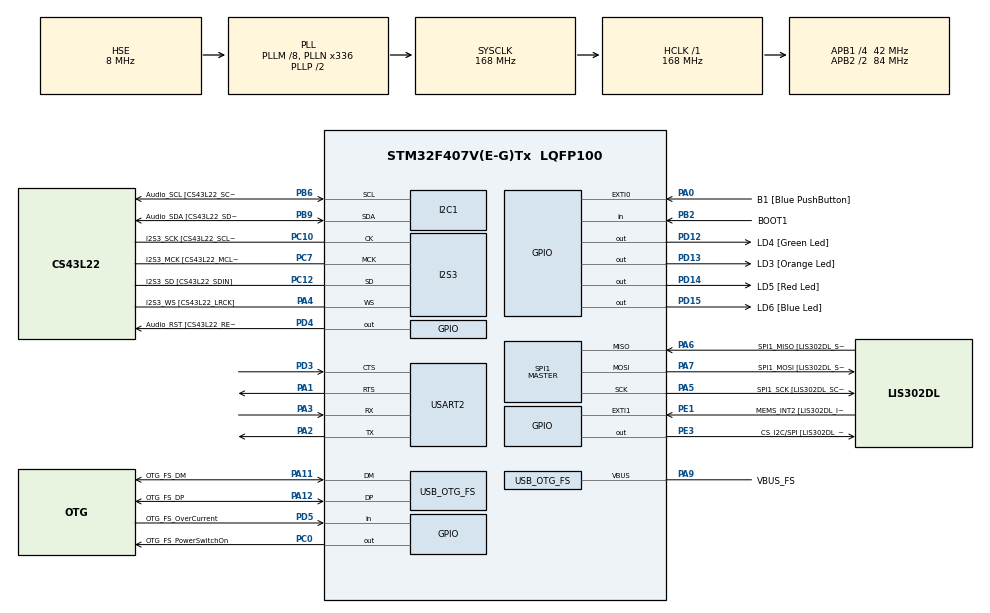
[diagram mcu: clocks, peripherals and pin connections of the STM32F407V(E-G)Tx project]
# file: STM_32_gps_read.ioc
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I2S3.AudioFreq-Half_Duplex_Master=I2S_AUDIOFREQ_96K
I2S3.ErrorAudioFreq=-2.34 %
I2S3.ErrorAudioFreq-Half_Duplex_Master=0.8 %
I2S3.FullDuplexMode=I2S_FULLDUPLEXMODE_DISABLE
I2S3.Instance=SPI$Index
I2S3.RealAudioFreq=93.75 KHz
I2S3.RealAudioFreq-Half_Duplex_Master=96.774 KHz
I2S3.VirtualMode=I2S_MODE_MASTER
Mcu.Family=STM32F4
Mcu.Name=STM32F407V(E-G)Tx
Mcu.Package=LQFP100
NVIC.OTG_FS_IRQn=true\:0\:0\:false\:false\:true\:true\:true\:true
NVIC.PriorityGroup=NVIC_PRIORITYGROUP_0
PA0-WKUP.GPIO_Label=B1 [Blue PushButton]
PA0-WKUP.GPIO_ModeDefaultEXTI=GPIO_MODE_EVT_RISING
PA0-WKUP.GPIO_PuPd=GPIO_NOPULL
PA0-WKUP.Signal=GPXTI0
PA1.Mode=CTS_RTS
PA1.Signal=USART2_RTS
PA10.GPIO_Label=OTG_FS_ID
PA10.GPIO_Mode=GPIO_MODE_AF_PP
PA10.GPIO_PuPd=GPIO_NOPULL
PA10.GPIO_Speed=GPIO_SPEED_FREQ_LOW
PA10.Signal=USB_OTG_FS_ID
PA11.GPIO_Label=OTG_FS_DM
PA11.GPIO_Mode=GPIO_MODE_AF_PP
PA11.GPIO_PuPd=GPIO_NOPULL
PA11.GPIO_Speed=GPIO_SPEED_FREQ_LOW
PA11.Mode=Host_Only
PA11.Signal=USB_OTG_FS_DM
PA12.GPIO_Label=OTG_FS_DP
PA12.GPIO_Mode=GPIO_MODE_AF_PP
PA12.GPIO_PuPd=GPIO_NOPULL
PA12.GPIO_Speed=GPIO_SPEED_FREQ_LOW
PA12.Mode=Host_Only
PA12.Signal=USB_OTG_FS_DP
PA13.GPIO_Label=SWDIO
PA13.Mode=Serial_Wire
PA13.Signal=SYS_JTMS-SWDIO
PA14.GPIO_Label=SWCLK
PA14.Mode=Serial_Wire
PA14.Signal=SYS_JTCK-SWCLK
PA2.Mode=Asynchronous
PA2.Signal=USART2_TX
PA3.Mode=Asynchronous
PA3.Signal=USART2_RX
PA4.GPIO_Label=I2S3_WS [CS43L22_LRCK]
PA4.GPIO_Mode=GPIO_MODE_AF_PP
PA4.GPIO_PuPd=GPIO_NOPULL
PA4.GPIO_Speed=GPIO_SPEED_FREQ_LOW
PA4.Mode=Half_Duplex_Master
PA4.Signal=I2S3_WS
PA5.GPIO_Label=SPI1_SCK [LIS302DL_SCL/SPC]
PA5.GPIO_Mode=GPIO_MODE_AF_PP
PA5.GPIO_PuPd=GPIO_NOPULL
PA5.GPIO_Speed=GPIO_SPEED_FREQ_LOW
PA5.Mode=Full_Duplex_Master
PA5.Signal=SPI1_SCK
PA6.GPIO_Label=SPI1_MISO [LIS302DL_SDO]
PA6.GPIO_Mode=GPIO_MODE_AF_PP
PA6.GPIO_PuPd=GPIO_NOPULL
PA6.GPIO_Speed=GPIO_SPEED_FREQ_LOW
PA6.Mode=Full_Duplex_Master
PA6.Signal=SPI1_MISO
PA7.GPIO_Label=SPI1_MOSI [LIS302DL_SDA/SDI/SDO]
PA7.GPIO_Mode=GPIO_MODE_AF_PP
PA7.GPIO_PuPd=GPIO_NOPULL
PA7.GPIO_Speed=GPIO_SPEED_FREQ_LOW
PA7.Mode=Full_Duplex_Master
PA7.Signal=SPI1_MOSI
PA9.GPIO_Label=VBUS_FS
PA9.GPIO_Mode=GPIO_MODE_INPUT
PA9.GPIO_PuPd=GPIO_NOPULL
PA9.Mode=Activate_VBUS
PA9.Signal=USB_OTG_FS_VBUS
PB10.GPIO_Label=CLK_IN [MP45DT02_CLK]
PB10.GPIO_Mode=GPIO_MODE_AF_PP
PB10.GPIO_PuPd=GPIO_NOPULL
PB10.GPIO_Speed=GPIO_SPEED_FREQ_LOW
PB10.Signal=I2S2_CK
PB2.GPIO_Label=BOOT1
PB2.GPIO_Mode=GPIO_MODE_INPUT
PB2.GPIO_PuPd=GPIO_NOPULL
PB2.Signal=GPIO_Input
PB3.GPIO_Label=SWO
PB3.Signal=SYS_JTDO-SWO
PB6.GPIO_Label=Audio_SCL [CS43L22_SCL]
PB6.GPIO_Mode=GPIO_MODE_AF_OD
PB6.GPIO_Pu=GPIO_PULLUP
PB6.GPIO_PuPd=GPIO_NOPULL
PB6.GPIO_Speed=GPIO_SPEED_FREQ_LOW
PB6.Mode=I2C
PB6.Signal=I2C1_SCL
PB9.GPIO_Label=Audio_SDA [CS43L22_SDA]
PB9.GPIO_Mode=GPIO_MODE_AF_OD
PB9.GPIO_Pu=GPIO_PULLUP
PB9.GPIO_PuPd=GPIO_NOPULL
PB9.GPIO_Speed=GPIO_SPEED_FREQ_LOW
PB9.Mode=I2C
PB9.Signal=I2C1_SDA
PC0.GPIO_Label=OTG_FS_PowerSwitchOn
PC0.GPIO_PuPd=GPIO_NOPULL
PC0.GPIO_Speed=GPIO_SPEED_FREQ_LOW
PC0.PinState=GPIO_PIN_SET
PC0.Signal=GPIO_Output
PC10.GPIO_Label=I2S3_SCK [CS43L22_SCLK]
PC10.GPIO_Mode=GPIO_MODE_AF_PP
PC10.GPIO_PuPd=GPIO_NOPULL
PC10.GPIO_Speed=GPIO_SPEED_FREQ_LOW
PC10.Mode=Half_Duplex_Master
PC10.Signal=I2S3_CK
PC12.GPIO_Label=I2S3_SD [CS43L22_SDIN]
PC12.GPIO_Mode=GPIO_MODE_AF_PP
PC12.GPIO_PuPd=GPIO_NOPULL
PC12.GPIO_Speed=GPIO_SPEED_FREQ_LOW
PC12.Mode=Half_Duplex_Master
PC12.Signal=I2S3_SD
PC14-OSC32_IN.GPIO_Label=PC14-OSC32_IN
PC14-OSC32_IN.Mode=LSE-External-Oscillator
PC14-OSC32_IN.Signal=RCC_OSC32_IN
PC15-OSC32_OUT.GPIO_Label=PC15-OSC32_OUT
PC15-OSC32_OUT.Mode=LSE-External-Oscillator
PC15-OSC32_OUT.Signal=RCC_OSC32_OUT
PC3.GPIO_Label=PDM_OUT [MP45DT02_DOUT]
PC3.GPIO_Mode=GPIO_MODE_AF_PP
PC3.GPIO_PuPd=GPIO_NOPULL
PC3.GPIO_Speed=GPIO_SPEED_FREQ_LOW
PC3.Signal=I2S2_SD
PC7.GPIO_Label=I2S3_MCK [CS43L22_MCLK]
PC7.GPIO_Mode=GPIO_MODE_AF_PP
PC7.GPIO_PuPd=GPIO_NOPULL
PC7.GPIO_Speed=GPIO_SPEED_FREQ_LOW
PC7.Mode=Master_Clock_Activated
PC7.Signal=I2S3_MCK
PD12.GPIO_Label=LD4 [Green Led]
PD12.GPIO_PuPd=GPIO_NOPULL
PD12.GPIO_Speed=GPIO_SPEED_FREQ_LOW
PD12.Signal=GPIO_Output
PD13.GPIO_Label=LD3 [Orange Led]
PD13.GPIO_PuPd=GPIO_NOPULL
PD13.GPIO_Speed=GPIO_SPEED_FREQ_LOW
PD13.Signal=GPIO_Output
PD14.GPIO_Label=LD5 [Red Led]
PD14.GPIO_PuPd=GPIO_NOPULL
PD14.GPIO_Speed=GPIO_SPEED_FREQ_LOW
PD14.Signal=GPIO_Output
PD15.GPIO_Label=LD6 [Blue Led]
PD15.GPIO_PuPd=GPIO_NOPULL
PD15.GPIO_Speed=GPIO_SPEED_FREQ_LOW
PD15.Signal=GPIO_Output
PD3.Mode=CTS_RTS
PD3.Signal=USART2_CTS
PD4.GPIO_Label=Audio_RST [CS43L22_RESET]
PD4.GPIO_PuPd=GPIO_NOPULL
PD4.GPIO_Speed=GPIO_SPEED_FREQ_LOW
PD4.Signal=GPIO_Output
PD5.GPIO_Label=OTG_FS_OverCurrent
PD5.GPIO_Mode=GPIO_MODE_INPUT
PD5.GPIO_PuPd=GPIO_NOPULL
PD5.Signal=GPIO_Input
PE1.GPIO_Label=MEMS_INT2 [LIS302DL_INT2]
PE1.GPIO_ModeDefaultEXTI=GPIO_MODE_EVT_RISING
PE1.GPIO_PuPd=GPIO_NOPULL
PE1.Signal=GPXTI1
PE3.GPIO_Label=CS_I2C/SPI [LIS302DL_CS_I2C/SPI]
PE3.GPIO_PuPd=GPIO_NOPULL
PE3.GPIO_Speed=GPIO_SPEED_FREQ_LOW
PE3.Signal=GPIO_Output
PH0-OSC_IN.GPIO_Label=PH0-OSC_IN
PH0-OSC_IN.Mode=HSE-External-Oscillator
PH0-OSC_IN.Signal=RCC_OSC_IN
PH1-OSC_OUT.GPIO_Label=PH1-OSC_OUT
PH1-OSC_OUT.Mode=HSE-External-Oscillator
PH1-OSC_OUT.Signal=RCC_OSC_OUT
ProjectManager.HeapSize=0x200
ProjectManager.StackSize=0x400
ProjectManager.TargetToolchain=STM32CubeIDE
RCC.48MHZClocksFreq_Value=48000000
RCC.AHBFreq_Value=168000000
RCC.APB1CLKDivider=RCC_HCLK_DIV4
RCC.APB1Freq_Value=42000000
RCC.APB1TimFreq_Value=84000000
RCC.APB2CLKDivider=RCC_HCLK_DIV2
RCC.APB2Freq_Value=84000000
RCC.APB2TimFreq_Value=168000000
RCC.CortexFreq_Value=168000000
RCC.HCLKFreq_Value=168000000
RCC.HSE_VALUE=8000000
RCC.HSI_VALUE=16000000
RCC.PLLM=8
RCC.PLLN=336
RCC.PLLQ=7
RCC.SYSCLKFreq_VALUE=168000000
RCC.SYSCLKSource=RCC_SYSCLKSOURCE_PLLCLK
RCC.VCOOutputFreq_Value=336000000
SPI1.BaudRatePrescaler-Full_Duplex_Master=SPI_BAUDRATEPRESCALER_2
SPI1.CalculateBaudRate-Full_Duplex_Master=42.0 MBits/s
SPI1.Direction=SPI_DIRECTION_2LINES
SPI1.Mode=SPI_MODE_MASTER
SPI1.Mode-Full_Duplex_Master=SPI_MODE_MASTER
SPI1.VirtualType=VM_MASTER
USART2.VirtualMode=VM_ASYNC
USB_HOST.BSP.number=1
USB_HOST.USBH_HandleTypeDef-CDC_FS=hUsbHostFS
USB_HOST.VirtualModeFS=Cdc
USB_HOST0.BSP.STBoard=false
USB_HOST0.BSP.api=Unknown
USB_HOST0.BSP.instance=PC0
USB_HOST0.BSP.ip=GPIO
USB_HOST0.BSP.mode=Output
USB_HOST0.BSP.name=Drive_VBUS_FS
USB_HOST0.BSP.solution=PC0
USB_OTG_FS.VirtualMode=Host_Only
USB_OTG_FS.phy_itface=HCD_PHY_EMBEDDED
VP_USB_HOST_VS_USB_HOST_CDC_FS.Mode=CDC_FS
board=STM32F407G-DISC1

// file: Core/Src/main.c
/* USER CODE BEGIN Header */
/**
  ******************************************************************************
  * @file           : main.c
  * @brief          : Main program body
  ******************************************************************************
  * @attention
  *
  * Copyright (c) 2025 STMicroelectronics.
  * All rights reserved.
  *
  * This software is licensed under terms that can be found in the LICENSE file
  * in the root directory of this software component.
  * If no LICENSE file comes with this software, it is provided AS-IS.
  *
  ******************************************************************************
  */
/* USER CODE END Header */
#include "main.h"
#include "usb_host.h"
#include "stdio.h"
#include "stm32f4xx_hal.h"

I2C_HandleTypeDef hi2c1;

I2S_HandleTypeDef hi2s3;

SPI_HandleTypeDef hspi1;

UART_HandleTypeDef huart2;

/* USER CODE BEGIN PV */
UART_HandleTypeDef huart1;

/* USER CODE END PV */

void SystemClock_Config(void);
static void MX_GPIO_Init(void);
static void MX_I2C1_Init(void);
static void MX_I2S3_Init(void);
static void MX_SPI1_Init(void);
static void MX_USART2_UART_Init(void);
void MX_USB_HOST_Process(void);

/* USER CODE BEGIN PFP */
void configureButtonInput(void);
void configureGPS_UART(void);

/* USER CODE END PFP */

/* USER CODE BEGIN 0 */
// Function to configure GPIO pin as input
void configureButtonInput(void) {
    GPIO_InitTypeDef GPIO_InitStruct = {0};
    // Enable clock for GPIOA
    __HAL_RCC_GPIOA_CLK_ENABLE();

    // Configure GPIO pin as input with pull-up
    GPIO_InitStruct.Pin = GPIO_PIN_0; // Using PA0
    GPIO_InitStruct.Mode = GPIO_MODE_INPUT;
    GPIO_InitStruct.Pull = GPIO_PULLUP; // Use GPIO_PULLUP for internal pull-up
    HAL_GPIO_Init(GPIOA, &GPIO_InitStruct);
}

// Function to configure PB7 as output
void configurePB7Output(void) {
    GPIO_InitTypeDef GPIO_InitStruct = {0};
    // Enable clock for GPIOB
    __HAL_RCC_GPIOB_CLK_ENABLE();

    // Configure PB7 as output
    GPIO_InitStruct.Pin = GPIO_PIN_7;
    GPIO_InitStruct.Mode = GPIO_MODE_OUTPUT_PP;
    GPIO_InitStruct.Pull = GPIO_NOPULL;
    GPIO_InitStruct.Speed = GPIO_SPEED_FREQ_LOW;
    HAL_GPIO_Init(GPIOB, &GPIO_InitStruct);
}

// Function to configure UART for GPS communication
void configureGPS_UART(void) {
    huart1.Instance = USART2; // Using USART2 for GPS (PA2 and PA3)
    huart1.Init.BaudRate = 115200; // Match the GPS module's baud rate
    huart1.Init.WordLength = UART_WORDLENGTH_8B;
    huart1.Init.StopBits = UART_STOPBITS_1;
    huart1.Init.Parity = UART_PARITY_NONE;
    huart1.Init.Mode = UART_MODE_TX_RX;
    huart1.Init.HwFlowCtl = UART_HWCONTROL_NONE;
    huart1.Init.OverSampling = UART_OVERSAMPLING_16;

    if (HAL_UART_Init(&huart1) != HAL_OK) {
        Error_Handler();
    }
}

// Function to configure UART for printing to serial terminal
void configurePrintUART(void) {
    huart1.Instance = USART1; // Using USART1 for printing
    huart1.Init.BaudRate = 115200;
    huart1.Init.WordLength = UART_WORDLENGTH_8B;
    huart1.Init.StopBits = UART_STOPBITS_1;
    huart1.Init.Parity = UART_PARITY_NONE;
    huart1.Init.Mode = UART_MODE_TX_RX;
    huart1.Init.HwFlowCtl = UART_HWCONTROL_NONE;
    huart1.Init.OverSampling = UART_OVERSAMPLING_16;

    if (HAL_UART_Init(&huart1) != HAL_OK) {
        Error_Handler();
    }
}
// Redirect printf to UART
int fputc(int ch, FILE *f) {
    HAL_UART_Transmit(&huart1, (uint8_t*)&ch, 1, 100);
    return ch;
}

/* USER CODE END 0 */

int main(void)
{

  /* MCU Configuration--------------------------------------------------------*/

  /* Reset of all peripherals, Initializes the Flash interface and the Systick. */
  HAL_Init();

  /* Configure the system clock */
  SystemClock_Config();

  /* Initialize all configured peripherals */
  MX_GPIO_Init();
  MX_I2C1_Init();
  MX_I2S3_Init();
  MX_SPI1_Init();
  MX_USB_HOST_Init();
  MX_USART2_UART_Init();

  /* Infinite loop */
  /* USER CODE BEGIN WHILE */
  configureButtonInput();
  configurePB7Output();
  //uint8_t buffer[100]; // Buffer to store received GPS data

  while (1) {
      // Read button state
      uint32_t buttonState = HAL_GPIO_ReadPin(GPIOA, GPIO_PIN_0);
      printf("test");
      if (buttonState == GPIO_PIN_RESET) {
          // Button is pressed (assuming active low)
          // Handle button press here
          printf("Button pressed!\n");
          HAL_GPIO_WritePin(GPIOD, LD4_Pin, GPIO_PIN_SET); // Turn on the light
          HAL_GPIO_WritePin(GPIOB, GPIO_PIN_7, GPIO_PIN_SET); // Set PB7 high
          HAL_Delay(200); // Debounce delay
      } else {
          HAL_GPIO_WritePin(GPIOD, LD4_Pin, GPIO_PIN_RESET); // Turn off the light
          HAL_GPIO_WritePin(GPIOB, GPIO_PIN_7, GPIO_PIN_RESET); // Set PB7 low
      }
      MX_USB_HOST_Process();
  }

  /* USER CODE END 3 */
}

void SystemClock_Config(void)
{
  RCC_OscInitTypeDef RCC_OscInitStruct = {0};
  RCC_ClkInitTypeDef RCC_ClkInitStruct = {0};

  /** Configure the main internal regulator output voltage
  */
  __HAL_RCC_PWR_CLK_ENABLE();
  __HAL_PWR_VOLTAGESCALING_CONFIG(PWR_REGULATOR_VOLTAGE_SCALE1);

  /** Initializes the RCC Oscillators according to the specified parameters
  * in the RCC_OscInitTypeDef structure.
  */
  RCC_OscInitStruct.OscillatorType = RCC_OSCILLATORTYPE_HSE;
  RCC_OscInitStruct.HSEState = RCC_HSE_ON;
  RCC_OscInitStruct.PLL.PLLState = RCC_PLL_ON;
  RCC_OscInitStruct.PLL.PLLSource = RCC_PLLSOURCE_HSE;
  RCC_OscInitStruct.PLL.PLLM = 8;
  RCC_OscInitStruct.PLL.PLLN = 336;
  RCC_OscInitStruct.PLL.PLLP = RCC_PLLP_DIV2;
  RCC_OscInitStruct.PLL.PLLQ = 7;
  if (HAL_RCC_OscConfig(&RCC_OscInitStruct) != HAL_OK)
  {
    Error_Handler();
  }

  /** Initializes the CPU, AHB and APB buses clocks
  */
  RCC_ClkInitStruct.ClockType = RCC_CLOCKTYPE_HCLK|RCC_CLOCKTYPE_SYSCLK
                              |RCC_CLOCKTYPE_PCLK1|RCC_CLOCKTYPE_PCLK2;
  RCC_ClkInitStruct.SYSCLKSource = RCC_SYSCLKSOURCE_PLLCLK;
  RCC_ClkInitStruct.AHBCLKDivider = RCC_SYSCLK_DIV1;
  RCC_ClkInitStruct.APB1CLKDivider = RCC_HCLK_DIV4;
  RCC_ClkInitStruct.APB2CLKDivider = RCC_HCLK_DIV2;

  if (HAL_RCC_ClockConfig(&RCC_ClkInitStruct, FLASH_LATENCY_5) != HAL_OK)
  {
    Error_Handler();
  }
}

static void MX_I2C1_Init(void)
{

  hi2c1.Instance = I2C1;
  hi2c1.Init.ClockSpeed = 100000;
  hi2c1.Init.DutyCycle = I2C_DUTYCYCLE_2;
  hi2c1.Init.OwnAddress1 = 0;
  hi2c1.Init.AddressingMode = I2C_ADDRESSINGMODE_7BIT;
  hi2c1.Init.DualAddressMode = I2C_DUALADDRESS_DISABLE;
  hi2c1.Init.OwnAddress2 = 0;
  hi2c1.Init.GeneralCallMode = I2C_GENERALCALL_DISABLE;
  hi2c1.Init.NoStretchMode = I2C_NOSTRETCH_DISABLE;
  if (HAL_I2C_Init(&hi2c1) != HAL_OK)
  {
    Error_Handler();
  }

}

static void MX_I2S3_Init(void)
{

  hi2s3.Instance = SPI3;
  hi2s3.Init.Mode = I2S_MODE_MASTER_TX;
  hi2s3.Init.Standard = I2S_STANDARD_PHILIPS;
  hi2s3.Init.DataFormat = I2S_DATAFORMAT_16B;
  hi2s3.Init.MCLKOutput = I2S_MCLKOUTPUT_ENABLE;
  hi2s3.Init.AudioFreq = I2S_AUDIOFREQ_96K;
  hi2s3.Init.CPOL = I2S_CPOL_LOW;
  hi2s3.Init.ClockSource = I2S_CLOCK_PLL;
  hi2s3.Init.FullDuplexMode = I2S_FULLDUPLEXMODE_DISABLE;
  if (HAL_I2S_Init(&hi2s3) != HAL_OK)
  {
    Error_Handler();
  }

}

static void MX_SPI1_Init(void)
{

  /* SPI1 parameter configuration*/
  hspi1.Instance = SPI1;
  hspi1.Init.Mode = SPI_MODE_MASTER;
  hspi1.Init.Direction = SPI_DIRECTION_2LINES;
  hspi1.Init.DataSize = SPI_DATASIZE_8BIT;
  hspi1.Init.CLKPolarity = SPI_POLARITY_LOW;
  hspi1.Init.CLKPhase = SPI_PHASE_1EDGE;
  hspi1.Init.NSS = SPI_NSS_SOFT;
  hspi1.Init.BaudRatePrescaler = SPI_BAUDRATEPRESCALER_2;
  hspi1.Init.FirstBit = SPI_FIRSTBIT_MSB;
  hspi1.Init.TIMode = SPI_TIMODE_DISABLE;
  hspi1.Init.CRCCalculation = SPI_CRCCALCULATION_DISABLE;
  hspi1.Init.CRCPolynomial = 10;
  if (HAL_SPI_Init(&hspi1) != HAL_OK)
  {
    Error_Handler();
  }

}

static void MX_USART2_UART_Init(void)
{

  huart2.Instance = USART2;
  huart2.Init.BaudRate = 115200;
  huart2.Init.WordLength = UART_WORDLENGTH_8B;
  huart2.Init.StopBits = UART_STOPBITS_1;
  huart2.Init.Parity = UART_PARITY_NONE;
  huart2.Init.Mode = UART_MODE_TX_RX;
  huart2.Init.HwFlowCtl = UART_HWCONTROL_RTS_CTS;
  huart2.Init.OverSampling = UART_OVERSAMPLING_16;
  if (HAL_UART_Init(&huart2) != HAL_OK)
  {
    Error_Handler();
  }

}

static void MX_GPIO_Init(void)
{
  GPIO_InitTypeDef GPIO_InitStruct = {0};

  /* GPIO Ports Clock Enable */
  __HAL_RCC_GPIOE_CLK_ENABLE();
  __HAL_RCC_GPIOC_CLK_ENABLE();
  __HAL_RCC_GPIOH_CLK_ENABLE();
  __HAL_RCC_GPIOA_CLK_ENABLE();
  __HAL_RCC_GPIOB_CLK_ENABLE();
  __HAL_RCC_GPIOD_CLK_ENABLE();

  /*Configure GPIO pin Output Level */
  HAL_GPIO_WritePin(CS_I2C_SPI_GPIO_Port, CS_I2C_SPI_Pin, GPIO_PIN_RESET);

  /*Configure GPIO pin Output Level */
  HAL_GPIO_WritePin(OTG_FS_PowerSwitchOn_GPIO_Port, OTG_FS_PowerSwitchOn_Pin, GPIO_PIN_SET);

  /*Configure GPIO pin Output Level */
  HAL_GPIO_WritePin(GPIOD, LD4_Pin|LD3_Pin|LD5_Pin|LD6_Pin
                          |Audio_RST_Pin, GPIO_PIN_RESET);

  /*Configure GPIO pin : CS_I2C_SPI_Pin */
  GPIO_InitStruct.Pin = CS_I2C_SPI_Pin;
  GPIO_InitStruct.Mode = GPIO_MODE_OUTPUT_PP;
  GPIO_InitStruct.Pull = GPIO_NOPULL;
  GPIO_InitStruct.Speed = GPIO_SPEED_FREQ_LOW;
  HAL_GPIO_Init(CS_I2C_SPI_GPIO_Port, &GPIO_InitStruct);

  /*Configure GPIO pin : OTG_FS_PowerSwitchOn_Pin */
  GPIO_InitStruct.Pin = OTG_FS_PowerSwitchOn_Pin;
  GPIO_InitStruct.Mode = GPIO_MODE_OUTPUT_PP;
  GPIO_InitStruct.Pull = GPIO_NOPULL;
  GPIO_InitStruct.Speed = GPIO_SPEED_FREQ_LOW;
  HAL_GPIO_Init(OTG_FS_PowerSwitchOn_GPIO_Port, &GPIO_InitStruct);

  /*Configure GPIO pin : PDM_OUT_Pin */
  GPIO_InitStruct.Pin = PDM_OUT_Pin;
  GPIO_InitStruct.Mode = GPIO_MODE_AF_PP;
  GPIO_InitStruct.Pull = GPIO_NOPULL;
  GPIO_InitStruct.Speed = GPIO_SPEED_FREQ_LOW;
  GPIO_InitStruct.Alternate = GPIO_AF5_SPI2;
  HAL_GPIO_Init(PDM_OUT_GPIO_Port, &GPIO_InitStruct);

  /*Configure GPIO pin : B1_Pin */
  GPIO_InitStruct.Pin = B1_Pin;
  GPIO_InitStruct.Mode = GPIO_MODE_EVT_RISING;
  GPIO_InitStruct.Pull = GPIO_NOPULL;
  HAL_GPIO_Init(B1_GPIO_Port, &GPIO_InitStruct);

  /*Configure GPIO pin : BOOT1_Pin */
  GPIO_InitStruct.Pin = BOOT1_Pin;
  GPIO_InitStruct.Mode = GPIO_MODE_INPUT;
  GPIO_InitStruct.Pull = GPIO_NOPULL;
  HAL_GPIO_Init(BOOT1_GPIO_Port, &GPIO_InitStruct);

  /*Configure GPIO pin : CLK_IN_Pin */
  GPIO_InitStruct.Pin = CLK_IN_Pin;
  GPIO_InitStruct.Mode = GPIO_MODE_AF_PP;
  GPIO_InitStruct.Pull = GPIO_NOPULL;
  GPIO_InitStruct.Speed = GPIO_SPEED_FREQ_LOW;
  GPIO_InitStruct.Alternate = GPIO_AF5_SPI2;
  HAL_GPIO_Init(CLK_IN_GPIO_Port, &GPIO_InitStruct);

  /*Configure GPIO pins : LD4_Pin LD3_Pin LD5_Pin LD6_Pin
                           Audio_RST_Pin */
  GPIO_InitStruct.Pin = LD4_Pin|LD3_Pin|LD5_Pin|LD6_Pin
                          |Audio_RST_Pin;
  GPIO_InitStruct.Mode = GPIO_MODE_OUTPUT_PP;
  GPIO_InitStruct.Pull = GPIO_NOPULL;
  GPIO_InitStruct.Speed = GPIO_SPEED_FREQ_LOW;
  HAL_GPIO_Init(GPIOD, &GPIO_InitStruct);

  /*Configure GPIO pin : OTG_FS_OverCurrent_Pin */
  GPIO_InitStruct.Pin = OTG_FS_OverCurrent_Pin;
  GPIO_InitStruct.Mode = GPIO_MODE_INPUT;
  GPIO_InitStruct.Pull = GPIO_NOPULL;
  HAL_GPIO_Init(OTG_FS_OverCurrent_GPIO_Port, &GPIO_InitStruct);

  /*Configure GPIO pin : MEMS_INT2_Pin */
  GPIO_InitStruct.Pin = MEMS_INT2_Pin;
  GPIO_InitStruct.Mode = GPIO_MODE_EVT_RISING;
  GPIO_InitStruct.Pull = GPIO_NOPULL;
  HAL_GPIO_Init(MEMS_INT2_GPIO_Port, &GPIO_InitStruct);

}

void Error_Handler(void)
{
  __disable_irq();
  while (1)
  {
  }
}
